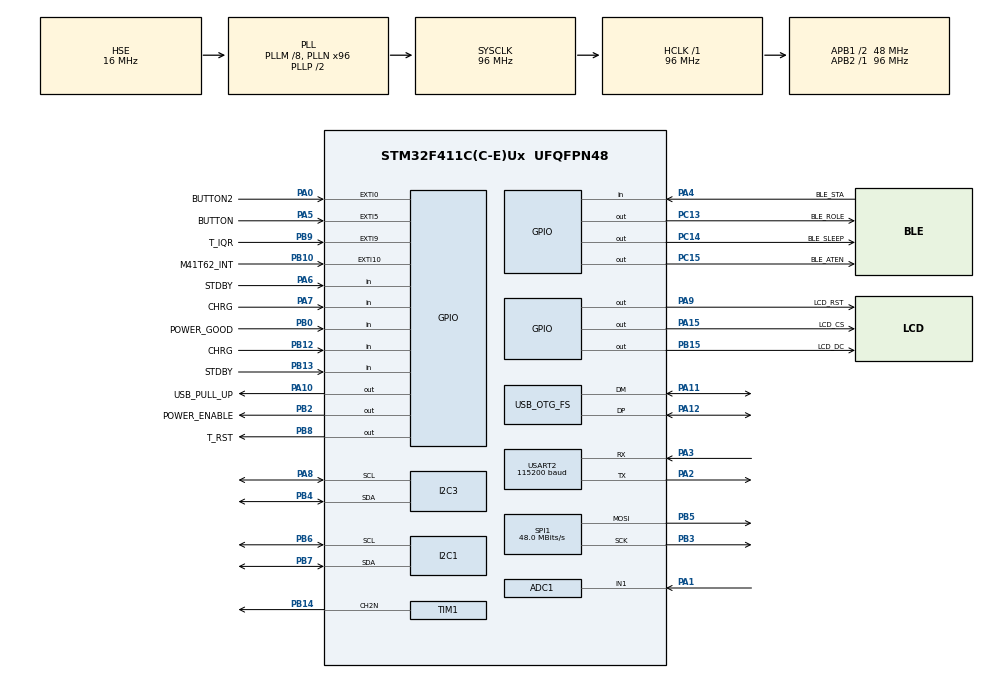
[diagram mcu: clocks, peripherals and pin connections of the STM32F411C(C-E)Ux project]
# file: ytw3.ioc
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ADC1.Channel-3\#ChannelRegularConversion=ADC_CHANNEL_1
ADC1.Channel-4\#ChannelRegularConversion=ADC_CHANNEL_TEMPSENSOR
ADC1.Channel-5\#ChannelRegularConversion=ADC_CHANNEL_VREFINT
ADC1.ClockPrescaler=ADC_CLOCK_SYNC_PCLK_DIV4
ADC1.ContinuousConvMode=DISABLE
ADC1.DMAContinuousRequests=DISABLE
ADC1.EOCSelection=ADC_EOC_SINGLE_CONV
ADC1.InjNumberOfConversion=0
ADC1.NbrOfConversion=3
ADC1.NbrOfConversionFlag=1
ADC1.Rank-4\#ChannelRegularConversion=2
ADC1.Rank-5\#ChannelRegularConversion=3
ADC1.SamplingTime-3\#ChannelRegularConversion=ADC_SAMPLETIME_15CYCLES
ADC1.SamplingTime-4\#ChannelRegularConversion=ADC_SAMPLETIME_15CYCLES
ADC1.SamplingTime-5\#ChannelRegularConversion=ADC_SAMPLETIME_15CYCLES
ADC1.master=1
Dma.ADC1.0.Direction=DMA_PERIPH_TO_MEMORY
Dma.ADC1.0.FIFOMode=DMA_FIFOMODE_DISABLE
Dma.ADC1.0.Instance=DMA2_Stream0
Dma.ADC1.0.MemDataAlignment=DMA_MDATAALIGN_WORD
Dma.ADC1.0.MemInc=DMA_MINC_ENABLE
Dma.ADC1.0.Mode=DMA_NORMAL
Dma.ADC1.0.PeriphDataAlignment=DMA_PDATAALIGN_WORD
Dma.ADC1.0.PeriphInc=DMA_PINC_DISABLE
Dma.ADC1.0.Priority=DMA_PRIORITY_LOW
Dma.Request0=ADC1
Dma.Request1=SPI1_TX
Dma.SPI1_TX.1.Direction=DMA_MEMORY_TO_PERIPH
Dma.SPI1_TX.1.FIFOMode=DMA_FIFOMODE_DISABLE
Dma.SPI1_TX.1.Instance=DMA2_Stream2
Dma.SPI1_TX.1.MemDataAlignment=DMA_MDATAALIGN_BYTE
Dma.SPI1_TX.1.MemInc=DMA_MINC_ENABLE
Dma.SPI1_TX.1.Mode=DMA_NORMAL
Dma.SPI1_TX.1.PeriphDataAlignment=DMA_PDATAALIGN_BYTE
Dma.SPI1_TX.1.PeriphInc=DMA_PINC_DISABLE
Dma.SPI1_TX.1.Priority=DMA_PRIORITY_LOW
FREERTOS.Events01=power_event,Dynamic,NULL
FREERTOS.INCLUDE_xEventGroupSetBitFromISR=0
FREERTOS.Mutexes01=lvgl_mutex,Dynamic,NULL
FREERTOS.Tasks01=button_task,19,128,start_button_task,As weak,NULL,Dynamic,NULL,NULL;uart_task,14,128,start_uart_task,As weak,NULL,Dynamic,NULL,NULL;system_low_task,10,128,start_system_low_task,As weak,NULL,Dynamic,NULL,NULL;lvgl_task,29,6144,start_lvgl_task,As weak,NULL,Static,lvgl_taskBuffer,lvgl_taskControlBlock;system_fast_task,12,128,start_system_fast_task,As weak,NULL,Dynamic,NULL,NULL
FREERTOS.Timers01=sleep_timer,sleep_Callback,osTimerPeriodic,As weak,NULL,Dynamic,NULL
FREERTOS.configENABLE_FPU=1
FREERTOS.configMAX_TASK_NAME_LEN=32
FREERTOS.configMINIMAL_STACK_SIZE=64
FREERTOS.configTOTAL_HEAP_SIZE=10240
FREERTOS.configUSE_IDLE_HOOK=0
FREERTOS.configUSE_NEWLIB_REENTRANT=1
FREERTOS.configUSE_TICKLESS_IDLE=1
FREERTOS.configUSE_TICK_HOOK=1
Mcu.Family=STM32F4
Mcu.Name=STM32F411C(C-E)Ux
Mcu.Package=UFQFPN48
NVIC.DMA2_Stream0_IRQn=true\:5\:0\:true\:false\:true\:true\:false\:true\:true
NVIC.DMA2_Stream2_IRQn=true\:5\:0\:false\:false\:true\:true\:false\:true\:true
NVIC.EXTI0_IRQn=true\:1\:0\:true\:false\:true\:false\:true\:true\:true
NVIC.EXTI15_10_IRQn=true\:1\:0\:true\:false\:true\:false\:true\:true\:true
NVIC.EXTI9_5_IRQn=true\:1\:0\:true\:false\:true\:false\:true\:true\:true
NVIC.PriorityGroup=NVIC_PRIORITYGROUP_4
NVIC.TIM1_UP_TIM10_IRQn=true\:15\:0\:true\:false\:true\:false\:false\:true\:true
NVIC.TimeBase=TIM1_UP_TIM10_IRQn
NVIC.TimeBaseIP=TIM10
NVIC.USART2_IRQn=true\:2\:0\:true\:false\:true\:false\:true\:true\:true
PA0-WKUP.GPIO_Label=BUTTON2
PA0-WKUP.Signal=GPXTI0
PA1.GPIO_Mode=GPIO_MODE_ANALOG
PA1.GPIO_PuPd=GPIO_NOPULL
PA1.Signal=ADCx_IN1
PA10.GPIO_Label=USB_PULL_UP
PA10.GPIO_PuPd=GPIO_NOPULL
PA10.Signal=GPIO_Output
PA11.Mode=Device_Only
PA11.Signal=USB_OTG_FS_DM
PA12.Mode=Device_Only
PA12.Signal=USB_OTG_FS_DP
PA13.Mode=Serial_Wire
PA13.Signal=SYS_JTMS-SWDIO
PA14.Mode=Serial_Wire
PA14.Signal=SYS_JTCK-SWCLK
PA15.GPIO_Label=LCD_CS
PA15.GPIO_PuPd=GPIO_NOPULL
PA15.GPIO_Speed=GPIO_SPEED_FREQ_HIGH
PA15.PinState=GPIO_PIN_RESET
PA15.Signal=GPIO_Output
PA2.GPIO_ModeDefaultPP=GPIO_MODE_AF_PP
PA2.GPIO_PuPd=GPIO_NOPULL
PA2.GPIO_Speed=GPIO_SPEED_FREQ_VERY_HIGH
PA2.Mode=Asynchronous
PA2.Signal=USART2_TX
PA3.GPIO_ModeDefaultPP=GPIO_MODE_AF_PP
PA3.GPIO_PuPd=GPIO_NOPULL
PA3.GPIO_Speed=GPIO_SPEED_FREQ_VERY_HIGH
PA3.Mode=Asynchronous
PA3.Signal=USART2_RX
PA4.GPIO_Label=BLE_STA
PA4.Signal=GPIO_Input
PA5.GPIO_Label=BUTTON
PA5.GPIO_PuPd=GPIO_NOPULL
PA5.Signal=GPXTI5
PA6.GPIO_Label=STDBY
PA6.Signal=GPIO_Input
PA7.GPIO_Label=CHRG
PA7.Signal=GPIO_Input
PA8.GPIO_Mode=GPIO_MODE_AF_OD
PA8.GPIO_Pu=GPIO_NOPULL
PA8.GPIO_Speed=GPIO_SPEED_FREQ_VERY_HIGH
PA8.Mode=I2C
PA8.Signal=I2C3_SCL
PA9.GPIO_Label=LCD_RST
PA9.GPIO_PuPd=GPIO_NOPULL
PA9.GPIO_Speed=GPIO_SPEED_FREQ_HIGH
PA9.PinState=GPIO_PIN_SET
PA9.Signal=GPIO_Output
PB0.GPIO_Label=POWER_GOOD
PB0.Signal=GPIO_Input
PB10.GPIO_Label=M41T62_INT
PB10.GPIO_ModeDefaultEXTI=GPIO_MODE_IT_FALLING
PB10.Signal=GPXTI10
PB12.GPIO_Label=CHRG
PB12.GPIO_PuPd=GPIO_PULLUP
PB12.Signal=GPIO_Input
PB13.GPIO_Label=STDBY
PB13.GPIO_PuPd=GPIO_PULLUP
PB13.Signal=GPIO_Input
PB14.Mode=PWM Generation2 CH2N
PB14.Signal=TIM1_CH2N
PB15.GPIO_Label=LCD_DC
PB15.GPIO_PuPd=GPIO_NOPULL
PB15.GPIO_Speed=GPIO_SPEED_FREQ_HIGH
PB15.PinState=GPIO_PIN_SET
PB15.Signal=GPIO_Output
PB2.GPIO_Label=POWER_ENABLE
PB2.GPIO_ModeDefaultOutputPP=GPIO_MODE_OUTPUT_PP
PB2.GPIO_PuPd=GPIO_NOPULL
PB2.PinState=GPIO_PIN_SET
PB2.Signal=GPIO_Output
PB3.Mode=TX_Only_Simplex_Unidirect_Master
PB3.Signal=SPI1_SCK
PB4.GPIO_Mode=GPIO_MODE_AF_OD
PB4.GPIO_Pu=GPIO_NOPULL
PB4.GPIO_Speed=GPIO_SPEED_FREQ_VERY_HIGH
PB4.Mode=I2C
PB4.Signal=I2C3_SDA
PB5.Mode=TX_Only_Simplex_Unidirect_Master
PB5.Signal=SPI1_MOSI
PB6.GPIO_Pu=GPIO_PULLUP
PB6.Mode=I2C
PB6.Signal=I2C1_SCL
PB7.GPIO_Pu=GPIO_PULLUP
PB7.Mode=I2C
PB7.Signal=I2C1_SDA
PB8.GPIO_Label=T_RST
PB8.GPIO_PuPd=GPIO_NOPULL
PB8.GPIO_Speed=GPIO_SPEED_FREQ_LOW
PB8.PinState=GPIO_PIN_SET
PB8.Signal=GPIO_Output
PB9.GPIO_Label=T_IQR
PB9.GPIO_ModeDefaultEXTI=GPIO_MODE_IT_RISING
PB9.Signal=GPXTI9
PC13-ANTI_TAMP.GPIO_Label=BLE_ROLE
PC13-ANTI_TAMP.GPIO_PuPd=GPIO_NOPULL
PC13-ANTI_TAMP.PinState=GPIO_PIN_SET
PC13-ANTI_TAMP.Signal=GPIO_Output
PC14-OSC32_IN.GPIO_Label=BLE_SLEEP
PC14-OSC32_IN.GPIO_ModeDefaultOutputPP=GPIO_MODE_OUTPUT_PP
PC14-OSC32_IN.GPIO_PuPd=GPIO_PULLDOWN
PC14-OSC32_IN.Signal=GPIO_Output
PC15-OSC32_OUT.GPIO_Label=BLE_ATEN
PC15-OSC32_OUT.GPIO_ModeDefaultOutputPP=GPIO_MODE_OUTPUT_PP
PC15-OSC32_OUT.GPIO_PuPd=GPIO_NOPULL
PC15-OSC32_OUT.PinState=GPIO_PIN_SET
PC15-OSC32_OUT.Signal=GPIO_Output
PH0\ -\ OSC_IN.Mode=HSE-External-Oscillator
PH0\ -\ OSC_IN.Signal=RCC_OSC_IN
PH1\ -\ OSC_OUT.Mode=HSE-External-Oscillator
PH1\ -\ OSC_OUT.Signal=RCC_OSC_OUT
ProjectManager.HeapSize=0x200
ProjectManager.StackSize=0x400
ProjectManager.TargetToolchain=STM32CubeIDE
RCC.48MHZClocksFreq_Value=48000000
RCC.AHBFreq_Value=96000000
RCC.APB1CLKDivider=RCC_HCLK_DIV2
RCC.APB1Freq_Value=48000000
RCC.APB1TimFreq_Value=96000000
RCC.APB2Freq_Value=96000000
RCC.APB2TimFreq_Value=96000000
RCC.CortexFreq_Value=96000000
RCC.EnbaleCSS=true
RCC.HCLKFreq_Value=96000000
RCC.HSE_VALUE=16000000
RCC.HSI_VALUE=16000000
RCC.LSE_VALUE=32768
RCC.PLLM=8
RCC.PLLN=96
RCC.SYSCLKFreq_VALUE=96000000
RCC.SYSCLKSource=RCC_SYSCLKSOURCE_PLLCLK
RCC.VCOOutputFreq_Value=192000000
SH.ADCx_IN1.0=ADC1_IN1,IN1
SPI1.BaudRatePrescaler=SPI_BAUDRATEPRESCALER_2
SPI1.CLKPhase=SPI_PHASE_1EDGE
SPI1.CLKPolarity=SPI_POLARITY_LOW
SPI1.CalculateBaudRate=48.0 MBits/s
SPI1.DataSize=SPI_DATASIZE_8BIT
SPI1.Direction=SPI_DIRECTION_2LINES
SPI1.Mode=SPI_MODE_MASTER
SPI1.VirtualType=VM_MASTER
TIM1.AutoReloadPreload=TIM_AUTORELOAD_PRELOAD_ENABLE
TIM1.Channel-PWM\ Generation2\ CH2N=TIM_CHANNEL_2
TIM1.OC2Preload_PWM=DISABLE
TIM1.OCFastMode_PWM-PWM\ Generation2\ CH2N=TIM_OCFAST_ENABLE
TIM1.OCNIdleState_2=TIM_OCNIDLESTATE_SET
TIM1.Period=499
TIM1.Prescaler=47
TIM1.Pulse-PWM\ Generation2\ CH2N=10
USART2.BaudRate=115200
USART2.OverSampling=UART_OVERSAMPLING_16
USART2.VirtualMode=VM_ASYNC
USB_OTG_FS.VirtualMode=Device_Only
VP_ADC1_TempSens_Input.Mode=IN-TempSens
VP_ADC1_Vref_Input.Mode=IN-Vrefint
VP_FREERTOS_VS_CMSIS_V2.Mode=CMSIS_V2
VP_SYS_VS_tim10.Mode=TIM10
VP_TIM1_VS_ClockSourceINT.Mode=Internal
board=custom

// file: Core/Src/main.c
/* USER CODE BEGIN Header */
/**
  ******************************************************************************
  * @file           : main.c
  * @brief          : Main program body
  ******************************************************************************
  * @attention
  *
  * Copyright (c) 2024 STMicroelectronics.
  * All rights reserved.
  *
  * This software is licensed under terms that can be found in the LICENSE file
  * in the root directory of this software component.
  * If no LICENSE file comes with this software, it is provided AS-IS.
  *
  ******************************************************************************
  */
/* USER CODE END Header */
#include "main.h"
#include "cmsis_os.h"
#include "adc.h"
#include "dma.h"
#include "i2c.h"
#include "spi.h"
#include "tim.h"
#include "usart.h"
#include "usb_otg.h"
#include "gpio.h"

/* USER CODE BEGIN Includes */
#include "system.h"
#include "ui_helpers.h"

/* USER CODE END Includes */

void SystemClock_Config(void);
void MX_FREERTOS_Init(void);
/* USER CODE BEGIN PFP */
#include "heiyt_task.h"
#include "a_heiyt_task_lvgl/change_things.h"
/* USER CODE END PFP */

/* USER CODE BEGIN 0 */
bool is_button_p = false;
bool is_button2_p = false;

void HAL_GPIO_EXTI_Callback(uint16_t GPIO_Pin) {
    if (GPIO_Pin == T_IQR_Pin) {
        is_touch_cst816 = true;
        is_button_p = true;
    }
    if (GPIO_Pin == BUTTON_Pin) {
        is_button_p = true;
    }
    if (GPIO_Pin == BUTTON2_Pin) {
        is_button2_p = true;
    }
    __HAL_RCC_PWR_CLK_ENABLE();
    SystemClock_Config();
}

/* USER CODE END 0 */

int main(void)
{

  /* MCU Configuration--------------------------------------------------------*/

  /* Reset of all peripherals, Initializes the Flash interface and the Systick. */
  HAL_Init();

  /* Configure the system clock */
  SystemClock_Config();

  /* Initialize all configured peripherals */
  MX_GPIO_Init();
  MX_DMA_Init();
  MX_ADC1_Init();
  MX_USART2_UART_Init();
  MX_TIM1_Init();
  MX_SPI1_Init();
  MX_I2C3_Init();
  MX_I2C1_Init();
  MX_USB_OTG_FS_PCD_Init();
  /* USER CODE BEGIN 2 */
    YTW_System_Open_Before_ui();

    lv_init();
    lv_port_disp_init();
    lv_port_indev_init();
    ui_init();

    YTW_System_Open_After_ui();

    refresh_time();
    refresh_time_BLE_2();
  /* USER CODE END 2 */

  /* Init scheduler */
  osKernelInitialize();

  /* Call init function for freertos objects (in freertos.c) */
  MX_FREERTOS_Init();

  /* Start scheduler */
  osKernelStart();

  /* We should never get here as control is now taken by the scheduler */
  /* Infinite loop */
  while (1)
  {

  }
}

void SystemClock_Config(void)
{
  RCC_OscInitTypeDef RCC_OscInitStruct = {0};
  RCC_ClkInitTypeDef RCC_ClkInitStruct = {0};

  /** Configure the main internal regulator output voltage
  */
  __HAL_RCC_PWR_CLK_ENABLE();
  __HAL_PWR_VOLTAGESCALING_CONFIG(PWR_REGULATOR_VOLTAGE_SCALE1);

  /** Initializes the RCC Oscillators according to the specified parameters
  * in the RCC_OscInitTypeDef structure.
  */
  RCC_OscInitStruct.OscillatorType = RCC_OSCILLATORTYPE_HSE;
  RCC_OscInitStruct.HSEState = RCC_HSE_ON;
  RCC_OscInitStruct.PLL.PLLState = RCC_PLL_ON;
  RCC_OscInitStruct.PLL.PLLSource = RCC_PLLSOURCE_HSE;
  RCC_OscInitStruct.PLL.PLLM = 8;
  RCC_OscInitStruct.PLL.PLLN = 96;
  RCC_OscInitStruct.PLL.PLLP = RCC_PLLP_DIV2;
  RCC_OscInitStruct.PLL.PLLQ = 4;
  if (HAL_RCC_OscConfig(&RCC_OscInitStruct) != HAL_OK)
  {
    Error_Handler();
  }

  /** Initializes the CPU, AHB and APB buses clocks
  */
  RCC_ClkInitStruct.ClockType = RCC_CLOCKTYPE_HCLK|RCC_CLOCKTYPE_SYSCLK
                              |RCC_CLOCKTYPE_PCLK1|RCC_CLOCKTYPE_PCLK2;
  RCC_ClkInitStruct.SYSCLKSource = RCC_SYSCLKSOURCE_PLLCLK;
  RCC_ClkInitStruct.AHBCLKDivider = RCC_SYSCLK_DIV1;
  RCC_ClkInitStruct.APB1CLKDivider = RCC_HCLK_DIV2;
  RCC_ClkInitStruct.APB2CLKDivider = RCC_HCLK_DIV1;

  if (HAL_RCC_ClockConfig(&RCC_ClkInitStruct, FLASH_LATENCY_3) != HAL_OK)
  {
    Error_Handler();
  }

  /** Enables the Clock Security System
  */
  HAL_RCC_EnableCSS();
}

void HAL_TIM_PeriodElapsedCallback(TIM_HandleTypeDef *htim)
{
  if (htim->Instance == TIM10) {
    HAL_IncTick();
  }
}

void Error_Handler(void)
{
  __disable_irq();
  while (1)
  {
  }
}

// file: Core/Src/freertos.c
/* USER CODE BEGIN Header */
/**
  ******************************************************************************
  * File Name          : freertos.c
  * Description        : Code for freertos applications
  ******************************************************************************
  * @attention
  *
  * Copyright (c) 2024 STMicroelectronics.
  * All rights reserved.
  *
  * This software is licensed under terms that can be found in the LICENSE file
  * in the root directory of this software component.
  * If no LICENSE file comes with this software, it is provided AS-IS.
  *
  ******************************************************************************
  */
/* USER CODE END Header */

#include "FreeRTOS.h"
#include "task.h"
#include "main.h"
#include "cmsis_os.h"

typedef StaticTask_t osStaticThreadDef_t;

/* Definitions for button_task */
osThreadId_t button_taskHandle;
const osThreadAttr_t button_task_attributes = {
  .name = "button_task",
  .stack_size = 128 * 4,
  .priority = (osPriority_t) osPriorityBelowNormal3,
};
/* Definitions for uart_task */
osThreadId_t uart_taskHandle;
const osThreadAttr_t uart_task_attributes = {
  .name = "uart_task",
  .stack_size = 128 * 4,
  .priority = (osPriority_t) osPriorityLow6,
};
/* Definitions for system_low_task */
osThreadId_t system_low_taskHandle;
const osThreadAttr_t system_low_task_attributes = {
  .name = "system_low_task",
  .stack_size = 128 * 4,
  .priority = (osPriority_t) osPriorityLow2,
};
/* Definitions for lvgl_task */
osThreadId_t lvgl_taskHandle;
uint32_t lvgl_taskBuffer[ 6144 ];
osStaticThreadDef_t lvgl_taskControlBlock;
const osThreadAttr_t lvgl_task_attributes = {
  .name = "lvgl_task",
  .cb_mem = &lvgl_taskControlBlock,
  .cb_size = sizeof(lvgl_taskControlBlock),
  .stack_mem = &lvgl_taskBuffer[0],
  .stack_size = sizeof(lvgl_taskBuffer),
  .priority = (osPriority_t) osPriorityNormal5,
};
/* Definitions for system_fast_task */
osThreadId_t system_fast_taskHandle;
const osThreadAttr_t system_fast_task_attributes = {
  .name = "system_fast_task",
  .stack_size = 128 * 4,
  .priority = (osPriority_t) osPriorityLow4,
};
/* Definitions for sleep_timer */
osTimerId_t sleep_timerHandle;
const osTimerAttr_t sleep_timer_attributes = {
  .name = "sleep_timer"
};
/* Definitions for lvgl_mutex */
osMutexId_t lvgl_mutexHandle;
const osMutexAttr_t lvgl_mutex_attributes = {
  .name = "lvgl_mutex"
};
/* Definitions for power_event */
osEventFlagsId_t power_eventHandle;
const osEventFlagsAttr_t power_event_attributes = {
  .name = "power_event"
};

void start_button_task(void *argument);
void start_uart_task(void *argument);
void start_system_low_task(void *argument);
void start_lvgl_task(void *argument);
void start_system_fast_task(void *argument);
void sleep_Callback(void *argument);

void MX_FREERTOS_Init(void); /* (MISRA C 2004 rule 8.1) */

/* Hook prototypes */
void vApplicationTickHook(void);

/* USER CODE BEGIN 3 */
void vApplicationTickHook( void )
{
   /* This function will be called by each tick interrupt if
   configUSE_TICK_HOOK is set to 1 in FreeRTOSConfig.h. User code can be
   added here, but the tick hook is called from an interrupt context, so
   code must not attempt to block, and only the interrupt safe FreeRTOS API
   functions can be used (those that end in FromISR()). */
    lv_tick_inc(1);
}
/* USER CODE END 3 */

/* USER CODE BEGIN PREPOSTSLEEP */
__weak void PreSleepProcessing(uint32_t ulExpectedIdleTime)
{
/* place for user code */
}

__weak void PostSleepProcessing(uint32_t ulExpectedIdleTime)
{
/* place for user code */
}
/* USER CODE END PREPOSTSLEEP */

void MX_FREERTOS_Init(void) {
  /* Create the mutex(es) */
  /* creation of lvgl_mutex */
  lvgl_mutexHandle = osMutexNew(&lvgl_mutex_attributes);

  /* Create the timer(s) */
  /* creation of sleep_timer */
  sleep_timerHandle = osTimerNew(sleep_Callback, osTimerPeriodic, NULL, &sleep_timer_attributes);

  /* USER CODE BEGIN RTOS_TIMERS */
  /* start timers, add new ones, ... */
    osTimerStart(sleep_timerHandle, pdMS_TO_TICKS(10000));
  /* USER CODE END RTOS_TIMERS */

  /* Create the thread(s) */
  /* creation of button_task */
  button_taskHandle = osThreadNew(start_button_task, NULL, &button_task_attributes);

  /* creation of uart_task */
  uart_taskHandle = osThreadNew(start_uart_task, NULL, &uart_task_attributes);

  /* creation of system_low_task */
  system_low_taskHandle = osThreadNew(start_system_low_task, NULL, &system_low_task_attributes);

  /* creation of lvgl_task */
  lvgl_taskHandle = osThreadNew(start_lvgl_task, NULL, &lvgl_task_attributes);

  /* creation of system_fast_task */
  system_fast_taskHandle = osThreadNew(start_system_fast_task, NULL, &system_fast_task_attributes);

  /* creation of power_event */
  power_eventHandle = osEventFlagsNew(&power_event_attributes);

}

__weak void start_button_task(void *argument)
{
  for(;;)
  {
    osDelay(1);
  }
}

__weak void start_uart_task(void *argument)
{
  for(;;)
  {
    osDelay(1);
  }
}

__weak void start_system_low_task(void *argument)
{
  for(;;)
  {
    osDelay(1);
  }
}

__weak void start_lvgl_task(void *argument)
{
  for(;;)
  {
    osDelay(1);
  }
}

__weak void start_system_fast_task(void *argument)
{
  for(;;)
  {
    osDelay(1);
  }
}

/* sleep_Callback function */
__weak void sleep_Callback(void *argument)
{
}
